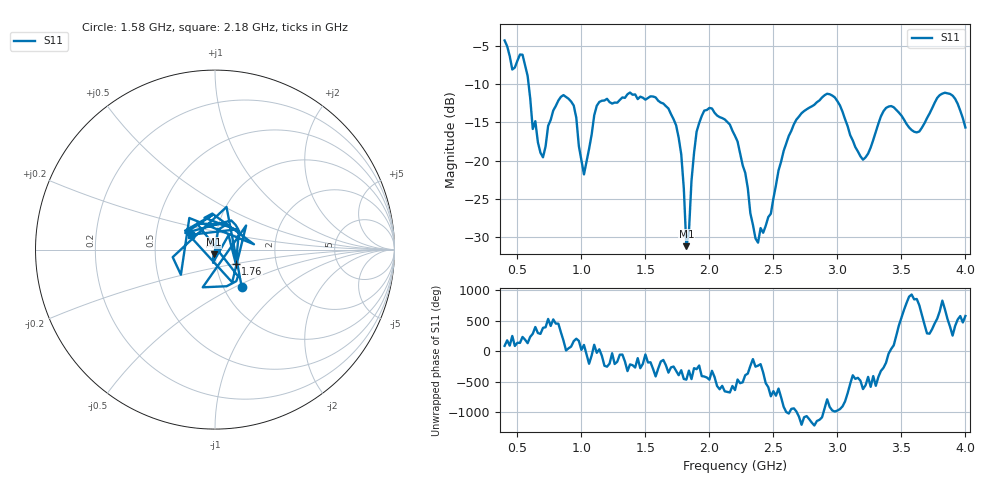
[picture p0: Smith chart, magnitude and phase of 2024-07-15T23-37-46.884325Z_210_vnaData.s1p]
!Created with skrf (http://scikit-rf.org).
# Hz S RI R 50.0
!freq ReS11 ImS11
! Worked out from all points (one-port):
!   181 points, 400 MHz to 4 GHz, reference 50 ohm
!   lowest |S11| = -31.1 dB at 1.82 GHz (marker M1), VSWR 1.06, Z = 49.1 - j2.61 ohm
!   |S11| at or under -10 dB: 587.2 MHz to end of sweep
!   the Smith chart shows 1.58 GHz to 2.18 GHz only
!   S11 on the Smith chart (normalised r, x): 1.58 GHz: 1.22, -0.55; 1.76 GHz: 1.25, -0.20; 2.18 GHz: 0.76, +0.13
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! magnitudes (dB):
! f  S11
! 400 MHz  -4.3
! 460 MHz  -8.1
! 540 MHz  -6.2
! 620 MHz  -15.9
! 700 MHz  -19.5
! 860 MHz  -11.4
! 940 MHz  -12.8
! 1.02 GHz  -21.8
! 1.12 GHz  -12.8
! 1.3 GHz  -12.1
! 1.58 GHz  -11.7
! 1.76 GHz  -17.0
! 1.8 GHz  -23.6
! 1.82 GHz  -31.1
! 1.84 GHz  -29.3
! 1.88 GHz  -19.0
! 1.94 GHz  -14.2
! 2.18 GHz  -16.1
! 2.2 GHz  -16.8
! 2.38 GHz  -30.7
! 2.66 GHz  -15.2
! 2.92 GHz  -11.3
! 3.1 GHz  -16.7
! 3.2 GHz  -19.9
! 3.38 GHz  -13.1
! 3.56 GHz  -15.7
! 3.84 GHz  -11.1
! 4 GHz  -15.7
